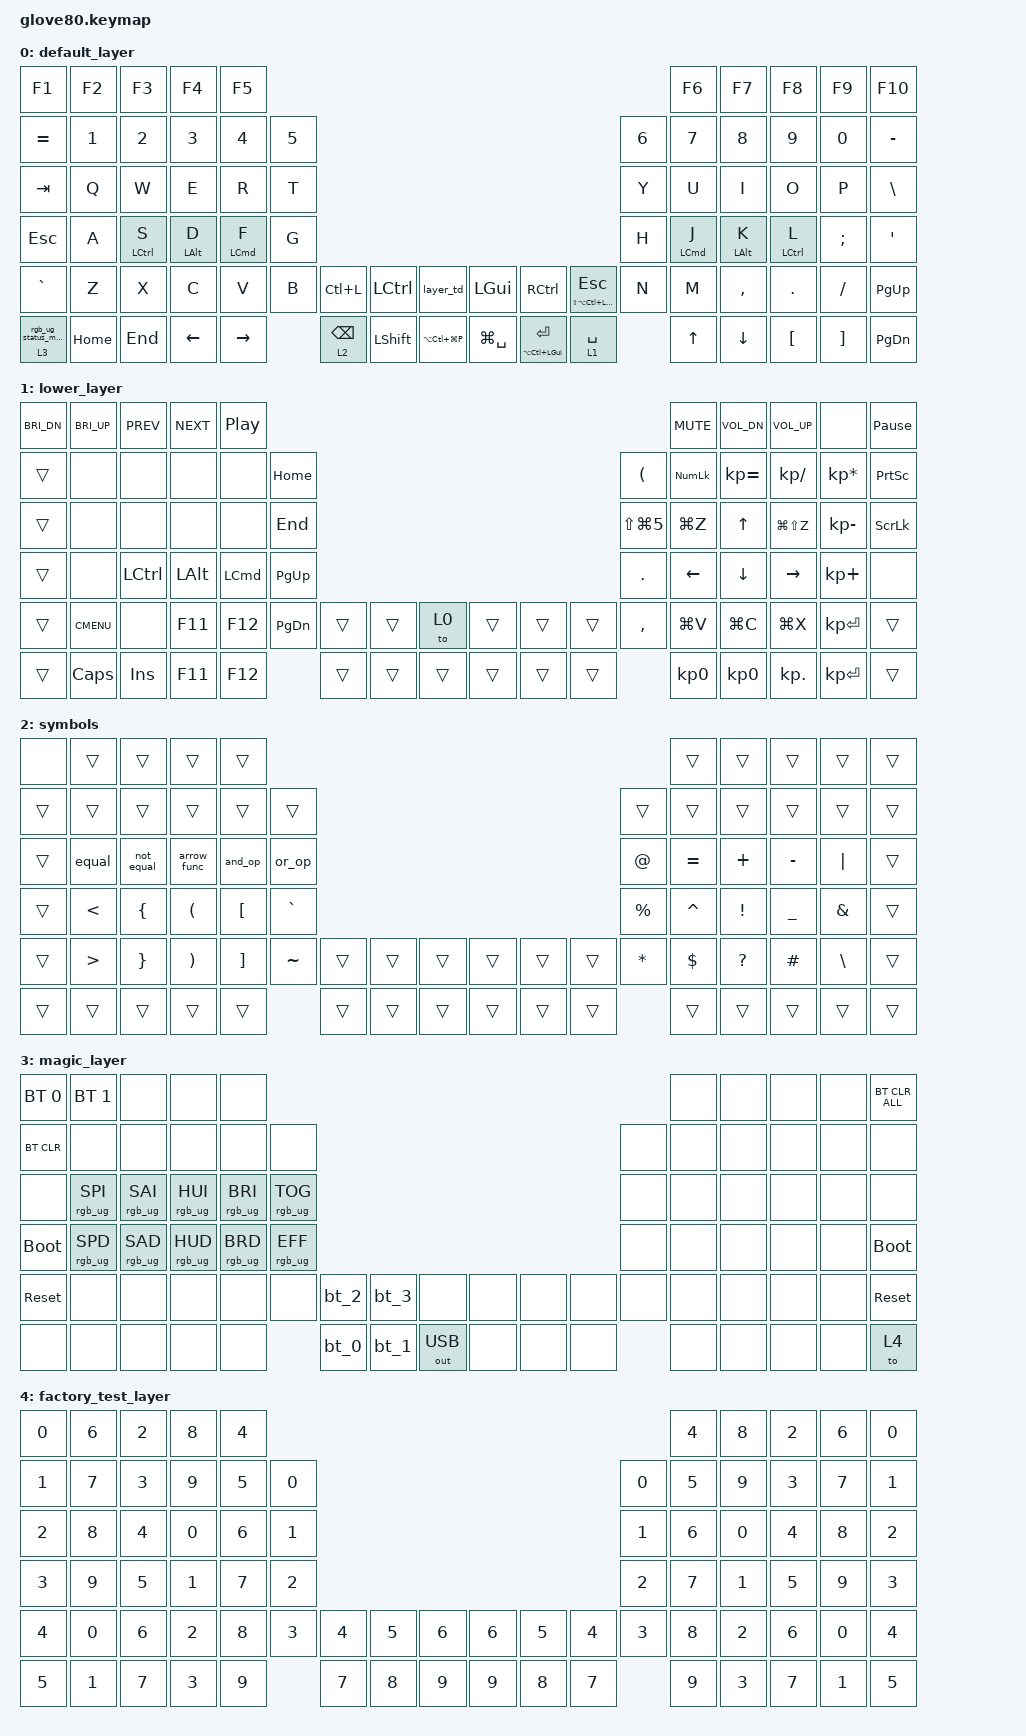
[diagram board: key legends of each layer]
/*
 * Copyright (c) 2020 The ZMK Contributors
 *
 * SPDX-License-Identifier: MIT
 */

#include <behaviors.dtsi>
#include <dt-bindings/zmk/bt.h>
#include <dt-bindings/zmk/keys.h>
#include <dt-bindings/zmk/outputs.h>
#include <dt-bindings/zmk/rgb.h>

#define HYPER LC(LS(LG(LALT)))

// layers

#define DEFAULT 0
#define LOWER 1
#define MAGIC 2
#define FACTORY_TEST 3

/ {
    behaviors {
        // For the "layer" key, it'd nice to be able to use it as either a shift or a toggle.
        // Configure it as a tap dance, so the first tap (or hold) is a &mo and the second tap is a &to

        layer_td: tap_dance_0 {
            compatible = "zmk,behavior-tap-dance";
            label = "LAYER_TAP_DANCE";
            #binding-cells = <0>;
            tapping-term-ms = <200>;
            bindings = <&mo 1>, <&to 1>;
        };

        magic: magic_hold_tap {
            compatible = "zmk,behavior-hold-tap";
            label = "MAGIC_HOLD_TAP";
            #binding-cells = <2>;
            flavor = "tap-preferred";
            tapping-term-ms = <200>;
            bindings = <&mo>, <&rgb_ug_status_macro>;
        };

        home_row: home_row {
            compatible = "zmk,behavior-hold-tap";
            label = "HOME_ROW";
            bindings = <&kp>, <&kp>;

            #binding-cells = <2>;
            flavor = "tap-preferred";
            hold-trigger-key-positions = <36 37 38 41 42 43>;
            hold-trigger-on-release;
            require-prior-idle-ms = <170>;
            quick-tap-ms = <300>;
            tapping-term-ms = <220>;
        };

        thmb_lay: thmb_lay {
            compatible = "zmk,behavior-hold-tap";
            label = "THMB_LAY";
            bindings = <&mo>, <&kp>;

            #binding-cells = <2>;
            flavor = "balanced";
            hold-trigger-on-release;
            require-prior-idle-ms = <170>;
            quick-tap-ms = <300>;
            tapping-term-ms = <200>;
            hold-trigger-key-positions = <55 56 57 72 73 74 52 53 54 69 70 71>;
        };

        thmb_mod: thmb_mod {
            compatible = "zmk,behavior-hold-tap";
            label = "THMB_MOD";
            bindings = <&kp>, <&kp>;

            #binding-cells = <2>;
            flavor = "balanced";
            hold-trigger-on-release;
            require-prior-idle-ms = <170>;
            quick-tap-ms = <300>;
            tapping-term-ms = <200>;
            hold-trigger-key-positions = <55 56 57 72 73 74 52 53 54 69 70 71>;
        };
    };

    macros {
        rgb_ug_status_macro: rgb_ug_status_macro_0 {
            label = "RGB_UG_STATUS";
            compatible = "zmk,behavior-macro";
            #binding-cells = <0>;
            bindings = <&rgb_ug RGB_STATUS>;
        };

        bt_0: bt_profile_macro_0 {
            label = "BT_0";
            compatible = "zmk,behavior-macro";
            #binding-cells = <0>;
            bindings = <&out OUT_BLE &bt BT_SEL 0>;
        };

        bt_1: bt_profile_macro_1 {
            label = "BT_1";
            compatible = "zmk,behavior-macro";
            #binding-cells = <0>;
            bindings = <&out OUT_BLE &bt BT_SEL 1>;
        };

        bt_2: bt_profile_macro_2 {
            label = "BT_2";
            compatible = "zmk,behavior-macro";
            #binding-cells = <0>;
            bindings = <&out OUT_BLE &bt BT_SEL 2>;
        };

        bt_3: bt_profile_macro_3 {
            label = "BT_3";
            compatible = "zmk,behavior-macro";
            #binding-cells = <0>;
            bindings = <&out OUT_BLE &bt BT_SEL 3>;
        };

        equal: equal {
            compatible = "zmk,behavior-macro";
            #binding-cells = <0>;
            bindings = <&kp EQUAL &kp EQUAL &kp EQUAL>;
            label = "EQUAL";
        };

        not_equal: not_equal {
            compatible = "zmk,behavior-macro";
            #binding-cells = <0>;
            bindings = <&kp EXCL &kp EQUAL &kp EQUAL>;
            label = "NOT_EQUAL";
        };

        arrow_func: arrow_func {
            compatible = "zmk,behavior-macro";
            #binding-cells = <0>;
            bindings = <&kp EQUAL &kp GT>;
            label = "ARROW_FUNC";
        };

        or_op: or_op {
            compatible = "zmk,behavior-macro";
            #binding-cells = <0>;
            bindings = <&kp PIPE &kp PIPE>;
            label = "OR_OP";
        };

        and_op: and_op {
            compatible = "zmk,behavior-macro";
            #binding-cells = <0>;
            bindings = <&kp AMPS &kp AMPS>;
            label = "AND_OP";
        };
    };

    keymap {
        compatible = "zmk,keymap";

        default_layer {
            // ---------------------------------------------------------------------------------------------------------------------------------
            // |  F1   |  F2 |  F3 |  F4  |  F5  |                                                               |  F6   |  F7   |  F8  |   F9  |  F10 |
            // |  =    |  1  |  2  |  3   |  4   |  5   |                                                 |  6   |   7   |   8   |  9   |   0   |   -  |
            // |  TAB  |  Q  |  W  |  E   |  R   |  T   |                                                 |  Y   |   U   |   I   |  O   |   P   |   \  |
            // |  ESC  |  A  |  S  |  D   |  F   |  G   |                                                 |  H   |   J   |   K   |  L   |   ;   |   '  |
            // |   `   |  Z  |  X  |  C   |  V   |  B   | LSHFT | LCTRL | LOWER | | LGUI  | RCTRL | RSHFT |  N   |   M   |   ,   |  .   |   /   | PGUP |
            // | MAGIC | HOME| END | LEFT | RIGHT|      | BSPC  | DEL   | LALT  | | RALT  | RET   | SPACE |      |  UP   | DOWN  |  [   |   ]   | PGDN |

            bindings = <
&kp F1      &kp F2    &kp F3                    &kp F4                &kp F5                                                                                                                                                                                  &kp F6                    &kp F7                &kp F8                    &kp F9    &kp F10
&kp EQUAL   &kp N1    &kp N2                    &kp N3                &kp N4                    &kp N5                                                                                                                                                &kp N6  &kp N7                    &kp N8                &kp N9                    &kp N0    &kp MINUS
&kp TAB     &kp Q     &kp W                     &kp E                 &kp R                     &kp T                                                                                                                                                 &kp Y   &kp U                     &kp I                 &kp O                     &kp P     &kp BSLH
&kp ESC     &kp A     &home_row LEFT_CONTROL S  &home_row LEFT_ALT D  &home_row LEFT_COMMAND F  &kp G                                                                                                                                                 &kp H   &home_row LEFT_COMMAND J  &home_row LEFT_ALT K  &home_row LEFT_CONTROL L  &kp SEMI  &kp SQT
&kp GRAVE   &kp Z     &kp X                     &kp C                 &kp V                     &kp B   &kp LC(L)              &kp LCTRL       &layer_td          &kp LGUI       &kp RCTRL                     &thmb_mod LS(LA(LC(LEFT_GUI))) ESCAPE  &kp N   &kp M                     &kp COMMA             &kp DOT                   &kp FSLH  &kp PG_UP
&magic 3 0  &kp HOME  &kp END                   &kp LEFT              &kp RIGHT                         &thmb_lay 2 BACKSPACE  &kp LEFT_SHIFT  &kp LA(LC(LG(P)))  &kp LG(SPACE)  &thmb_mod LA(LC(LGUI)) ENTER  &thmb_lay 1 SPACE                              &kp UP                    &kp DOWN              &kp LBKT                  &kp RBKT  &kp PG_DN
            >;
        };

        lower_layer {
            bindings = <
&kp C_BRI_DN  &kp C_BRI_UP  &kp C_PREV        &kp C_NEXT    &kp C_PP                                                                                           &kp C_MUTE  &kp C_VOL_DN    &kp C_VOL_UP     &none            &kp PAUSE_BREAK
&trans        &none         &none             &none         &none             &kp HOME                                                   &kp LPAR              &kp KP_NUM  &kp KP_EQUAL    &kp KP_DIVIDE    &kp KP_MULTIPLY  &kp PSCRN
&trans        &none         &none             &none         &none             &kp END                                                    &kp LS(LG(NUMBER_5))  &kp LG(Z)   &kp UP_ARROW    &kp LG(LS(Z))    &kp KP_MINUS     &kp SLCK
&trans        &none         &kp LEFT_CONTROL  &kp LEFT_ALT  &kp LEFT_COMMAND  &kp PG_UP                                                  &kp PERIOD            &kp LEFT    &kp DOWN_ARROW  &kp RIGHT_ARROW  &kp KP_PLUS      &none
&trans        &kp K_CMENU   &none             &kp F11       &kp F12           &kp PG_DN  &trans  &trans  &to 0   &trans  &trans  &trans  &kp COMMA             &kp LG(V)   &kp LG(C)       &kp LG(X)        &kp KP_ENTER     &trans
&trans        &kp CAPS      &kp INS           &kp F11       &kp F12                      &trans  &trans  &trans  &trans  &trans  &trans                        &kp KP_N0   &kp KP_N0       &kp KP_DOT       &kp KP_ENTER     &trans
            >;
        };

        symbols {
            bindings = <
&none   &trans  &trans           &trans                 &trans                                                                            &trans      &trans        &trans     &trans         &trans
&trans  &trans  &trans           &trans                 &trans    &trans                                                     &trans       &trans      &trans        &trans     &trans         &trans
&trans  &equal  &not_equal       &arrow_func            &and_op   &or_op                                                     &kp AT       &kp EQUAL   &kp PLUS      &kp MINUS  &kp PIPE       &trans
&trans  &kp LT  &kp LEFT_BRACE   &kp LEFT_PARENTHESIS   &kp LBKT  &kp GRAVE                                                  &kp PERCENT  &kp CARET   &kp EXCL      &kp UNDER  &kp AMPS       &trans
&trans  &kp GT  &kp RIGHT_BRACE  &kp RIGHT_PARENTHESIS  &kp RBKT  &kp TILDE  &trans  &trans  &trans  &trans  &trans  &trans  &kp STAR     &kp DOLLAR  &kp QUESTION  &kp HASH   &kp BACKSLASH  &trans
&trans  &trans  &trans           &trans                 &trans               &trans  &trans  &trans  &trans  &trans  &trans               &trans      &trans        &trans     &trans         &trans
            >;
        };

        magic_layer {
            bindings = <
&bt BT_SEL 0  &bt BT_SEL 1     &none            &none            &none                                                                                     &none  &none  &none  &none  &bt BT_CLR_ALL
&bt BT_CLR    &none            &none            &none            &none            &none                                                             &none  &none  &none  &none  &none  &none
&none         &rgb_ug RGB_SPI  &rgb_ug RGB_SAI  &rgb_ug RGB_HUI  &rgb_ug RGB_BRI  &rgb_ug RGB_TOG                                                   &none  &none  &none  &none  &none  &none
&bootloader   &rgb_ug RGB_SPD  &rgb_ug RGB_SAD  &rgb_ug RGB_HUD  &rgb_ug RGB_BRD  &rgb_ug RGB_EFF                                                   &none  &none  &none  &none  &none  &bootloader
&sys_reset    &none            &none            &none            &none            &none            &bt_2  &bt_3  &none         &none  &none  &none  &none  &none  &none  &none  &none  &sys_reset
&none         &none            &none            &none            &none                             &bt_0  &bt_1  &out OUT_USB  &none  &none  &none         &none  &none  &none  &none  &to 4
            >;
        };

        factory_test_layer {
            bindings = <
&kp N0  &kp N6  &kp N2  &kp N8  &kp N4                                                                  &kp N4  &kp N8  &kp N2  &kp N6  &kp N0
&kp N1  &kp N7  &kp N3  &kp N9  &kp N5  &kp N0                                                  &kp N0  &kp N5  &kp N9  &kp N3  &kp N7  &kp N1
&kp N2  &kp N8  &kp N4  &kp N0  &kp N6  &kp N1                                                  &kp N1  &kp N6  &kp N0  &kp N4  &kp N8  &kp N2
&kp N3  &kp N9  &kp N5  &kp N1  &kp N7  &kp N2                                                  &kp N2  &kp N7  &kp N1  &kp N5  &kp N9  &kp N3
&kp N4  &kp N0  &kp N6  &kp N2  &kp N8  &kp N3  &kp N4  &kp N5  &kp N6  &kp N6  &kp N5  &kp N4  &kp N3  &kp N8  &kp N2  &kp N6  &kp N0  &kp N4
&kp N5  &kp N1  &kp N7  &kp N3  &kp N9          &kp N7  &kp N8  &kp N9  &kp N9  &kp N8  &kp N7          &kp N9  &kp N3  &kp N7  &kp N1  &kp N5
            >;
        };
    };
};
